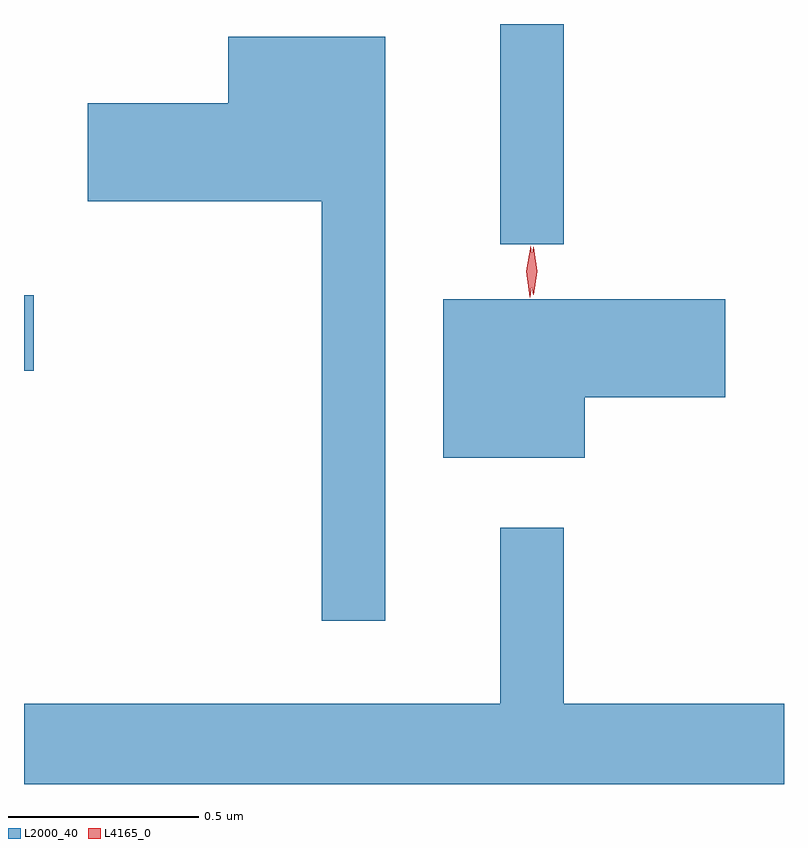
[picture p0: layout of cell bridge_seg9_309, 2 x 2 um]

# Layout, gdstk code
import gdstk
lib = gdstk.Library(unit=1e-6, precision=1e-09)
def R(c, l, rs):  # rectangles x0, y0, x1, y1
    for r in rs: c.add(gdstk.rectangle(r[:2], r[2:], *l))
def P(c, l, *ps):  # polygons
    for p in ps: c.add(gdstk.Polygon(p, *l))
L2000_40 = (2000, 40)
L4165_0 = (4165, 0)

bridge_seg9_309 = lib.new_cell('bridge_seg9_309')
R(bridge_seg9_309, L2000_40, [(1001.008,2019.601,1001.034,2019.799), (1002.261,2019.933,1002.429,2020.513)])
P(bridge_seg9_309, L2000_40, [(1001.959,2020.479),(1001.546,2020.479),(1001.546,2020.304),(1001.176,2020.304),(1001.176,2020.046),(1001.791,2020.046),(1001.791,2018.943),(1001.959,2018.943)],
  [(1002.484,2019.531),(1002.854,2019.531),(1002.854,2019.789),(1002.111,2019.789),(1002.111,2019.371),(1002.484,2019.371)],
  [(1003.008,2018.724),(1002.429,2018.724),(1002.429,2019.188),(1002.261,2019.188),(1002.261,2018.724),(1001.008,2018.724),(1001.008,2018.513),(1003.008,2018.513)])
P(bridge_seg9_309, L4165_0, [(1002.339,2019.794),(1002.339,2019.794),(1002.33,2019.862),(1002.341,2019.93),(1002.341,2019.93),(1002.342,2019.93),(1002.35,2019.862),(1002.34,2019.794)],
  [(1002.348,2019.8),(1002.348,2019.8),(1002.338,2019.863),(1002.348,2019.926),(1002.348,2019.927),(1002.349,2019.926),(1002.358,2019.863),(1002.349,2019.8)])

lib.write_gds('bridge_seg9_309.gds')
